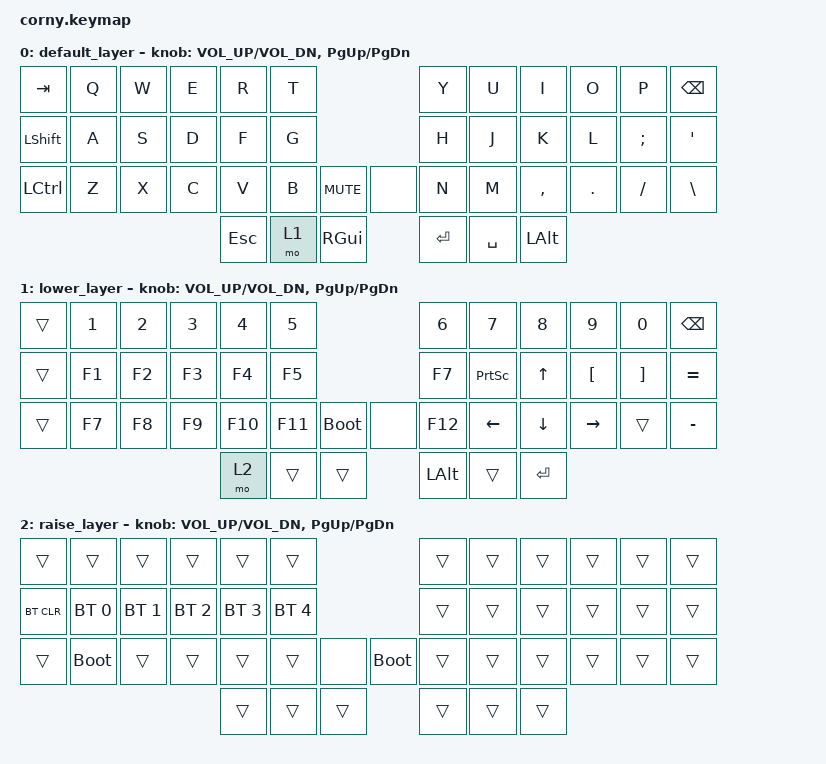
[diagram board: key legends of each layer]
#include <behaviors.dtsi>
#include <dt-bindings/zmk/keys.h>
#include <dt-bindings/zmk/bt.h>

/ {
        keymap {
                compatible = "zmk,keymap";

                default_layer {
// -------------------------------------------------------------------------------------------------
// |  TAB |  Q  |  W  |  E  |  R  |  T  |                    |  Y  |  U   |  I  |  O  |  P  | BKSP |
// | CTRL |  A  |  S  |  D  |  F  |  G  |                    |  H  |  J   |  K  |  L  |  ;  |  '   |
// | SHFT |  Z  |  X  |  C  |  V  |  B  |  MUTE  |  |        |  N  |  M   |  ,  |  .  |  /  | ESC  |
//                    | GUI | LWR | SPC |                    | ENT | RSE  | ALT |
                        bindings = <
   &kp TAB   &kp Q &kp W &kp E &kp R &kp T                   &kp Y &kp U  &kp I     &kp O   &kp P     &kp BSPC
   &kp LSHFT &kp A &kp S &kp D &kp F &kp G                   &kp H &kp J  &kp K     &kp L   &kp SEMI  &kp SQT
   &kp LCTRL &kp Z &kp X &kp C &kp V &kp B &kp C_MUTE  &none &kp N &kp M  &kp COMMA &kp DOT &kp SLASH &kp BACKSLASH
                               &kp ESC &mo 1 &kp RGUI  &kp ENTER &kp SPACE &kp LALT
                        >;

                        sensor-bindings = <&inc_dec_kp C_VOL_UP C_VOL_DN &inc_dec_kp PG_UP PG_DN>;
                };
                lower_layer {
// ------------------------------------------------------------------------------------------------
// |  TAB |  1  |  2  |  3  |  4  |  5  |                    |  6  |  7  |  8  |  9  |  0  | BKSP |
// | BTCLR| BT1 | BT2 | BT3 | BT4 | BT5 |                    | LFT | DWN |  UP | RGT |     |  F12 |
// | SHFT | F1  | F2  | F3  | F4  | F5  |  boot  |  |        |  F6 | F7  | F8  | F9  | F10 |  F11 |
//                    | GUI |     | SPC |                    | ENT |     | ALT |
                        bindings = <
   &trans   &kp N1       &kp N2       &kp N3       &kp N4       &kp N5                              &kp N6      &kp N7      &kp N8    &kp N9     &kp N0    &kp BSPC
   &trans   &kp F1       &kp F2       &kp F3       &kp F4       &kp F5                              &kp F7      &kp PSCRN   &kp UP    &kp LBKT   &kp RBKT  &kp EQUAL 
   &trans   &kp F7       &kp F8       &kp F9       &kp F10      &kp F11   &bootloader     &none     &kp F12     &kp LEFT    &kp DOWN  &kp RIGHT  &trans    &kp MINUS
                                                       &mo 2     &trans       &trans      &kp LALT  &trans  &kp ENTER
                        >;

                        sensor-bindings = <&inc_dec_kp C_VOL_UP C_VOL_DN &inc_dec_kp PG_UP PG_DN>;
                };

                raise_layer {
// ------------------------------------------------------------------------------------------------
// |  TAB |  !  |  @  |  #  |  $  |  %  |                    |  ^  |  &  |  *  |  (  |  )  | BKSP |
// | CTRL |     |     |     |     |     |                    |  -  |  =  |  [  |  ]  |  \  |  `   |
// | SHFT |     |     |     |     |     |        |  |  boot  |  _  |  +  |  {  |  }  | "|" |  ~   |
//                    | GUI |     | SPC |                    | ENT |     | ALT |
                        bindings = <
   &trans     &trans       &trans       &trans       &trans       &trans                            &trans &trans &trans &trans &trans &trans
   &bt BT_CLR &bt BT_SEL 0 &bt BT_SEL 1 &bt BT_SEL 2 &bt BT_SEL 3 &bt BT_SEL 4                      &trans &trans &trans &trans &trans &trans
   &trans     &bootloader  &trans       &trans       &trans       &trans       &none   &bootloader  &trans &trans &trans &trans &trans &trans
                                                            &trans   &trans   &trans   &trans   &trans    &trans
                        >;

                        sensor-bindings = <&inc_dec_kp C_VOL_UP C_VOL_DN &inc_dec_kp PG_UP PG_DN>;
                };
        };
};
